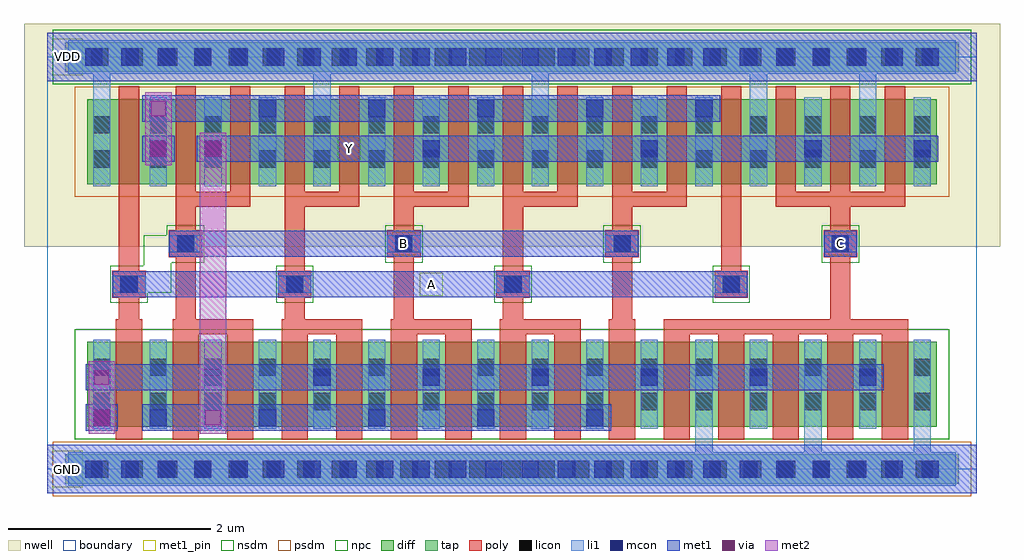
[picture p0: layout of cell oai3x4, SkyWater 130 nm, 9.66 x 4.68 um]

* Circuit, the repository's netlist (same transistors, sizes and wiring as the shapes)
** sch_path: /foss/designs/oai3x4.sch
.subckt oai3x4 VDD GND A B C Y
*.PININFO VDD:B GND:B A:I B:I C:I Y:O
XM2 net2 A VDD VDD sky130_fd_pr__pfet_01v8 L=0.2 W=5.04 nf=6
XM3 Y C VDD VDD sky130_fd_pr__pfet_01v8 L=0.2 W=2.52 nf=3
XM4 Y A net1 GND sky130_fd_pr__nfet_01v8 L=0.26 W=4.2 nf=5
XM1 Y B net2 VDD sky130_fd_pr__pfet_01v8 L=0.2 W=5.04 nf=6
XM6 net1 C GND GND sky130_fd_pr__nfet_01v8 L=0.26 W=4.2 nf=5
XM5 Y B net1 GND sky130_fd_pr__nfet_01v8 L=0.26 W=4.2 nf=5
.ends

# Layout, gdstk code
import gdstk
lib = gdstk.Library(unit=1e-6, precision=1e-09)
def R(c, l, rs):  # rectangles x0, y0, x1, y1
    for r in rs: c.add(gdstk.rectangle(r[:2], r[2:], *l))
def A(c, l, x, y, w, h, nx, ny, dx, dy):  # array of equal rectangles
    R(c, l, [(x+i*dx, y+j*dy, x+i*dx+w, y+j*dy+h) for i in range(nx) for j in range(ny)])
nwell = (64, 20)
diff = (65, 20)
tap = (65, 44)
poly = (66, 20)
licon = (66, 44)
li1 = (67, 20)
mcon = (67, 44)
met1_pin = (68, 16)
met1 = (68, 20)
via = (68, 44)
met2 = (69, 20)
nsdm = (93, 44)
psdm = (94, 20)
npc = (95, 20)
boundary = (235, 4)

oai3x4 = lib.new_cell('oai3x4')
R(oai3x4, nwell, [(-0.23,2.2,9.43,4.41)])
R(oai3x4, diff, [(0.395,0.42,8.805,1.26), (0.395,2.82,8.805,3.66)])
R(oai3x4, tap, [(0.18,-0.145,9.02,0.145), (0.18,3.935,9.02,4.225)])
A(oai3x4, poly, 1.24, 0.29, 0.26, 1.045, 8, 1, 0.54, 0)
A(oai3x4, poly, 6.1, 0.29, 0.26, 1.045, 5, 1, 0.54, 0)
A(oai3x4, poly, 1.24, 1.335, 0.8, 0.15, 4, 1, 1.08, 0)
A(oai3x4, poly, 1.27, 1.485, 0.2, 0.61, 4, 1, 2.16, 0)
A(oai3x4, poly, 2.285, 1.695, 0.33, 0.27, 3, 1, 2.16, 0)
A(oai3x4, poly, 1.205, 2.095, 0.33, 0.27, 4, 1, 2.16, 0)
A(oai3x4, poly, 1.27, 2.365, 0.2, 0.23, 4, 1, 2.16, 0)
A(oai3x4, poly, 1.27, 2.595, 0.74, 0.15, 5, 1, 1.08, 0)
A(oai3x4, poly, 1.27, 2.745, 0.2, 1.045, 10, 1, 0.54, 0)
A(oai3x4, poly, 7.21, 2.745, 0.2, 1.045, 3, 1, 0.54, 0)
R(oai3x4, poly, [(0.68,0.29,0.94,1.485), (5.56,0.29,5.82,1.485), (6.1,1.335,8.52,1.485), (0.71,1.485,0.91,1.695), (2.35,1.485,2.55,1.695), (4.51,1.485,4.71,1.695), (0.645,1.695,0.975,1.965), (0.71,1.965,0.91,3.79), (2.35,1.965,2.55,2.595), (4.51,1.965,4.71,2.595), (6.67,1.965,6.87,3.79), (7.21,2.595,8.49,2.745)])
A(oai3x4, licon, 0.435, -0.085, 0.17, 0.17, 25, 2, 0.34, 4.08)
A(oai3x4, licon, 1.015, 0.585, 0.17, 0.17, 15, 2, 0.54, 0.34)
A(oai3x4, licon, 2.365, 1.745, 0.17, 0.17, 3, 1, 2.16, 0)
A(oai3x4, licon, 1.285, 2.145, 0.17, 0.17, 4, 1, 2.16, 0)
A(oai3x4, licon, 1.015, 2.985, 0.17, 0.17, 15, 2, 0.54, 0.34)
R(oai3x4, licon, [(0.455,0.585,0.625,0.755), (0.455,0.925,0.625,1.095), (0.725,1.745,0.895,1.915), (0.455,2.985,0.625,3.155), (0.455,3.325,0.625,3.495)])
A(oai3x4, li1, 6.415, 0.165, 0.17, 1.115, 3, 1, 1.08, 0)
A(oai3x4, li1, 1.015, 0.4, 0.17, 0.88, 10, 1, 0.54, 0)
A(oai3x4, li1, 2.285, 1.745, 0.33, 0.17, 3, 1, 2.16, 0)
A(oai3x4, li1, 1.205, 2.145, 0.33, 0.17, 4, 1, 2.16, 0)
A(oai3x4, li1, 1.015, 2.8, 0.17, 0.88, 3, 1, 0.54, 0)
A(oai3x4, li1, 2.635, 2.8, 0.17, 1.115, 3, 1, 2.16, 0)
A(oai3x4, li1, 3.175, 2.8, 0.17, 0.88, 3, 1, 0.54, 0)
A(oai3x4, li1, 5.335, 2.8, 0.17, 0.88, 3, 1, 0.54, 0)
R(oai3x4, li1, [(0.21,-0.165,8.99,0.165), (0.455,0.4,0.625,1.28), (6.955,0.4,7.125,1.28), (8.035,0.4,8.205,1.28), (0.645,1.745,0.975,1.915), (0.455,2.8,0.625,3.915), (7.495,2.8,7.665,3.68), (8.035,2.8,8.205,3.915), (8.575,2.8,8.745,3.68), (0.21,3.915,8.99,4.245)])
A(oai3x4, mcon, 0.375, -0.085, 0.17, 0.17, 24, 2, 0.36, 4.08)
A(oai3x4, mcon, 1.015, 0.425, 0.17, 0.17, 5, 1, 1.08, 0)
A(oai3x4, mcon, 1.555, 0.825, 0.17, 0.17, 7, 1, 1.08, 0)
A(oai3x4, mcon, 2.365, 1.745, 0.17, 0.17, 3, 1, 2.16, 0)
A(oai3x4, mcon, 1.285, 2.145, 0.17, 0.17, 4, 1, 2.16, 0)
A(oai3x4, mcon, 1.555, 3.085, 0.17, 0.17, 3, 1, 2.16, 0)
A(oai3x4, mcon, 2.095, 3.485, 0.17, 0.17, 5, 1, 1.08, 0)
R(oai3x4, mcon, [(0.455,0.425,0.625,0.595), (0.725,1.745,0.895,1.915), (1.015,3.085,1.185,3.255), (7.495,3.085,7.665,3.255), (8.575,3.085,8.745,3.255)])
R(oai3x4, met1_pin, [(0.05,-0.18,0.35,0.18), (3.685,1.715,3.915,1.945), (3.415,2.115,3.645,2.345), (7.735,2.115,7.965,2.345), (2.875,3.055,3.105,3.285), (0.05,3.9,0.35,4.26)])
R(oai3x4, met1, [(0,-0.24,9.2,0.24), (0.38,0.38,0.7,0.64), (0.94,0.38,5.58,0.64), (0.38,0.78,8.28,1.04), (0.65,1.7,6.93,1.96), (1.21,2.1,5.85,2.36), (7.69,2.1,8.01,2.36), (0.94,3.04,1.26,3.3), (1.48,3.04,8.82,3.3), (0.94,3.44,6.66,3.7), (0,3.84,9.2,4.32)])
R(oai3x4, via, [(0.465,0.435,0.615,0.585), (1.565,0.435,1.715,0.585), (0.465,0.835,0.615,0.985), (1.025,3.095,1.175,3.245), (1.565,3.095,1.715,3.245), (1.025,3.495,1.175,3.645)])
R(oai3x4, met2, [(0.41,0.35,0.67,1.07), (1.51,0.35,1.77,3.33), (0.97,3.01,1.23,3.73)])
R(oai3x4, nsdm, [(0.27,0.295,8.93,1.385), (0.055,3.81,9.145,4.35)])
R(oai3x4, psdm, [(0.055,-0.27,9.145,0.27), (0.27,2.695,8.93,3.785)])
A(oai3x4, npc, 2.265, 1.645, 0.37, 0.37, 3, 1, 2.16, 0)
A(oai3x4, npc, 3.345, 2.045, 0.37, 0.37, 3, 1, 2.16, 0)
R(oai3x4, npc, [(0.625,1.645,0.995,1.745), (0.625,1.745,1.225,2.015), (0.955,2.015,1.225,2.045), (0.955,2.045,1.555,2.315), (1.185,2.315,1.555,2.415)])
R(oai3x4, boundary, [(0,0,9.2,4.08)])
oai3x4.add(gdstk.Label('VDD', (0.2,4.08), layer=68, texttype=5))
oai3x4.add(gdstk.Label('GND', (0.2,0), layer=68, texttype=5))
oai3x4.add(gdstk.Label('A', (3.8,1.83), layer=68, texttype=5))
oai3x4.add(gdstk.Label('B', (3.53,2.23), layer=68, texttype=5))
oai3x4.add(gdstk.Label('C', (7.85,2.23), layer=68, texttype=5))
oai3x4.add(gdstk.Label('Y', (2.99,3.17), layer=68, texttype=5))

lib.write_gds('oai3x4.gds')
